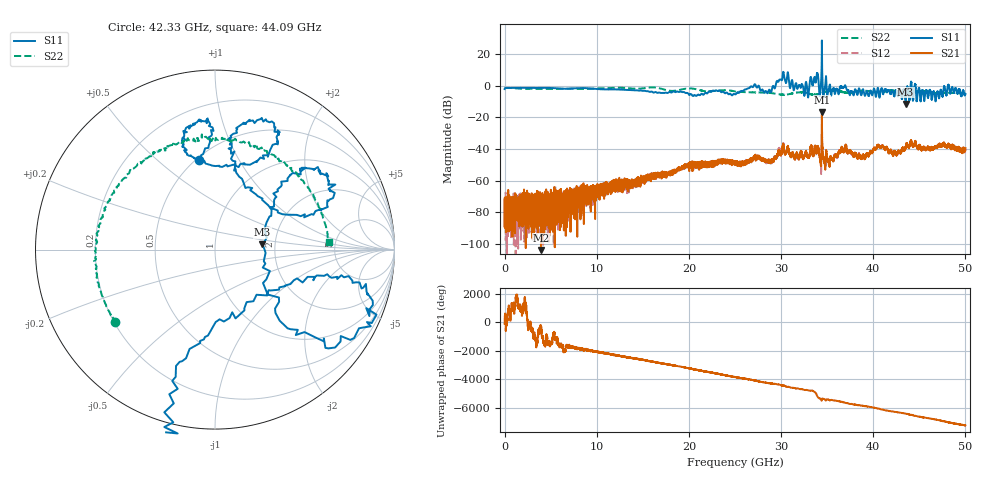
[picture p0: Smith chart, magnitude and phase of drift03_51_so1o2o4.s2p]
!Created with skrf (http://scikit-rf.org).
# Hz S RI R 50.0
!freq ReS11 ImS11 ReS21 ImS21 ReS12 ImS12 ReS22 ImS22
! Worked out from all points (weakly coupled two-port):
!   10000 points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, 5.3 MHz to 50 GHz, reference 50 ohm
!   highest |S21| = -16.79 dB at 34.43 GHz (marker M1); lowest = -103.8 dB at 3.95 GHz (marker M2)
!   lowest |S11| = -11.5 dB at 43.52 GHz (marker M3), VSWR 1.72, Z = 85.7 + j5.63 ohm
!   |S11| at or under -10 dB: 43.48733 GHz to 43.54375 GHz (56.42 MHz wide, 0.13 % of centre)
!   |S22| runs from -5.8 to -1.1 dB; largest |S21 - S12| = 0.046
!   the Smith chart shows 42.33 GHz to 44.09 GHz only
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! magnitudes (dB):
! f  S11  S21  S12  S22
! 5.3 MHz  -2.1  -88.8  -70.5  -1.3
! 260.3 MHz  -1.4  -84.5  -75.6  -1.4
! 3.95 GHz  -1.4  -103.8  -79.7  -2.0
! 8.34 GHz  -1.5  -72.5  -66.0  -2.1
! 16.67 GHz  -4.4  -56.6  -55.7  -1.5
! 20.34 GHz  -5.9  -48.8  -50.1  -1.8
! 25.01 GHz  -5.5  -48.4  -49.0  -3.5
! 27.02 GHz  -0.3  -46.5  -45.9  -4.3
! 28.72 GHz  -2.5  -48.1  -48.3  -4.5
! 30.14 GHz  4.4  -41.0  -40.2  -5.7
! 32.74 GHz  2.0  -42.1  -41.9  -4.6
! 33.34 GHz  2.6  -40.0  -40.1  -5.6
! 33.82 GHz  4.0  -41.9  -41.8  -5.7
! 34.43 GHz  28.6  -16.8  -18.8  -4.5
! 35.26 GHz  -0.5  -49.7  -47.8  -3.4
! 36.85 GHz  -0.6  -41.7  -41.4  -4.3
! 38.86 GHz  -2.5  -44.1  -43.9  -3.2
! 40.6 GHz  -4.3  -38.0  -38.1  -4.1
! 41.67 GHz  -3.0  -42.1  -42.1  -3.3
! 43.52 GHz  -11.5  -38.7  -38.8  -4.0
! 48.32 GHz  -4.4  -38.2  -38.2  -4.6
! 50 GHz  -5.2  -39.4  -40.2  -4.5
